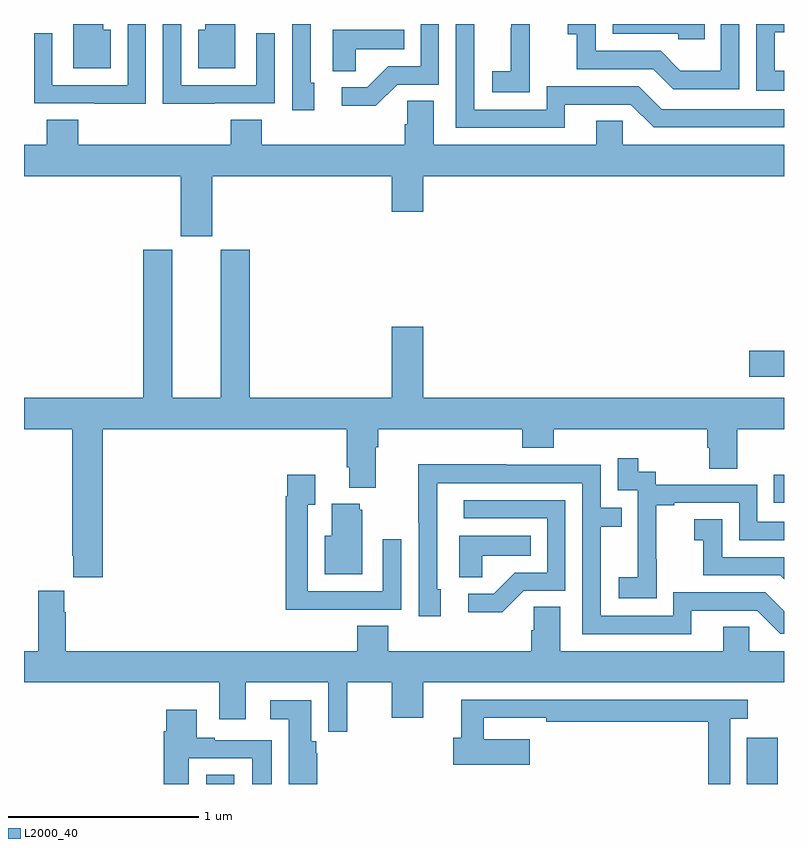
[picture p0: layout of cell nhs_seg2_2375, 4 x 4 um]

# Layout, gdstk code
import gdstk
lib = gdstk.Library(unit=1e-6, precision=1e-09)
def R(c, l, rs):  # rectangles x0, y0, x1, y1
    for r in rs: c.add(gdstk.rectangle(r[:2], r[2:], *l))
def P(c, l, *ps):  # polygons
    for p in ps: c.add(gdstk.Polygon(p, *l))
L2000_40 = (2000, 40)

nhs_seg2_2375 = lib.new_cell('nhs_seg2_2375')
R(nhs_seg2_2375, L2000_40, [(235.958,613.8,236.107,613.85), (238.805,613.8,238.966,614.044), (238.945,615.279,239,615.427), (238.818,615.944,239,616.079)])
P(nhs_seg2_2375, L2000_40, [(236.964,617.481),(237.183,617.481),(237.183,617.8),(237.087,617.8),(237.087,617.577),(236.918,617.577),(236.807,617.466),(236.673,617.466),(236.673,617.369),(236.851,617.369)],
  [(238.764,617.8),(238.668,617.8),(238.668,617.554),(238.454,617.554),(238.35,617.658),(238.008,617.658),(238.008,617.8),(237.861,617.8),(237.861,617.747),(237.91,617.747),(237.91,617.562),(238.313,617.562),(238.418,617.457),(238.764,617.457)],
  [(236.003,617.382),(236.319,617.382),(236.319,617.752),(236.223,617.752),(236.223,617.478),(235.827,617.478),(235.827,617.8),(235.731,617.8),(235.731,617.381),(236.003,617.381)],
  [(236.113,617.8),(235.955,617.8),(235.955,617.77),(235.916,617.77),(235.916,617.567),(236.113,617.567)],
  [(235.456,617.77),(235.417,617.77),(235.417,617.8),(235.259,617.8),(235.259,617.567),(235.456,617.567)],
  [(237.663,617.647),(237.662,617.647),(237.662,617.8),(237.564,617.8),(237.564,617.78),(237.563,617.78),(237.563,617.551),(237.465,617.551),(237.465,617.441),(237.663,617.441)],
  [(238.583,617.8),(238.098,617.8),(238.098,617.748),(238.443,617.748),(238.443,617.721),(238.583,617.721)],
  [(235.641,617.8),(235.545,617.8),(235.545,617.478),(235.149,617.478),(235.149,617.752),(235.053,617.752),(235.053,617.382),(235.369,617.382),(235.369,617.381),(235.641,617.381)],
  [(239,617.553),(238.951,617.553),(238.951,617.757),(239,617.757),(239,617.8),(238.854,617.8),(238.854,617.448),(239,617.448)],
  [(236.527,617.49),(236.508,617.49),(236.508,617.8),(236.412,617.8),(236.412,617.346),(236.527,617.346)],
  [(237.847,617.376),(238.194,617.376),(238.314,617.256),(239,617.256),(239,617.352),(238.356,617.352),(238.236,617.472),(237.75,617.472),(237.75,617.349),(237.369,617.349),(237.369,617.8),(237.273,617.8),(237.273,617.253),(237.847,617.253)],
  [(236.745,617.666),(237.002,617.666),(237.002,617.77),(236.624,617.77),(236.624,617.551),(236.745,617.551)],
  [(235.99,617),(236.936,617),(236.936,616.812),(237.1,616.812),(237.1,617),(239,617),(239,617.164),(238.152,617.164),(238.152,617.291),(238.013,617.291),(238.013,617.164),(237.157,617.164),(237.157,617.396),(237.018,617.396),(237.018,617.273),(237.005,617.273),(237.005,617.164),(236.252,617.164),(236.252,617.297),(236.087,617.297),(236.087,617.164),(235.286,617.164),(235.286,617.297),(235.121,617.297),(235.121,617.164),(235,617.164),(235,617),(235.826,617),(235.826,616.683),(235.99,616.683)],
  [(235.415,615.668),(236.699,615.668),(236.699,615.466),(236.711,615.466),(236.711,615.359),(236.851,615.359),(236.851,615.572),(236.864,615.572),(236.864,615.668),(237.623,615.668),(237.623,615.569),(237.788,615.569),(237.788,615.668),(238.595,615.668),(238.595,615.57),(238.607,615.57),(238.607,615.46),(238.755,615.46),(238.755,615.668),(239,615.668),(239,615.832),(237.1,615.832),(237.1,616.207),(236.936,616.207),(236.936,615.832),(236.189,615.832),(236.189,616.611),(236.036,616.611),(236.036,615.832),(235.78,615.832),(235.78,616.611),(235.628,616.611),(235.628,615.832),(235,615.832),(235,615.668),(235.255,615.668),(235.255,615.001),(235.259,615.001),(235.259,614.889),(235.415,614.889)],
  [(238.329,614.983),(238.328,614.983),(238.328,615.267),(238.423,615.267),(238.423,615.279),(238.764,615.279),(238.764,615.084),(239,615.084),(239,615.18),(238.86,615.18),(238.86,615.375),(238.326,615.375),(238.326,615.444),(238.234,615.444),(238.234,615.514),(238.125,615.514),(238.125,615.345),(238.23,615.345),(238.23,615.116),(238.229,615.116),(238.229,614.887),(238.131,614.887),(238.131,614.777),(238.329,614.777)],
  [(238.513,614.712),(238.86,614.712),(238.98,614.592),(239,614.592),(239,614.71),(238.902,614.808),(238.416,614.808),(238.416,614.685),(238.035,614.685),(238.035,615.154),(238.145,615.154),(238.145,615.255),(238.035,615.255),(238.035,615.48),(237.539,615.48),(237.539,615.482),(237.076,615.482),(237.076,615.175),(237.078,615.175),(237.078,614.682),(237.193,614.682),(237.193,614.826),(237.174,614.826),(237.174,615.384),(237.939,615.384),(237.939,614.589),(238.513,614.589)],
  [(236.669,614.718),(236.985,614.718),(236.985,615.088),(236.889,615.088),(236.889,614.814),(236.493,614.814),(236.493,615.271),(236.533,615.271),(236.533,615.427),(236.385,615.427),(236.385,615.314),(236.377,615.314),(236.377,614.717),(236.669,614.717)],
  [(237.63,614.817),(237.849,614.817),(237.849,615.294),(237.315,615.294),(237.315,615.198),(237.753,615.198),(237.753,614.913),(237.584,614.913),(237.473,614.802),(237.339,614.802),(237.339,614.705),(237.517,614.705)],
  [(236.779,615.243),(236.768,615.243),(236.768,615.274),(236.621,615.274),(236.621,615.106),(236.582,615.106),(236.582,614.903),(236.779,614.903)],
  [(239,614.994),(238.674,614.994),(238.674,615.193),(238.527,615.193),(238.527,615.083),(238.576,615.083),(238.576,614.898),(238.979,614.898),(239,614.877)],
  [(237.411,615.002),(237.668,615.002),(237.668,615.106),(237.29,615.106),(237.29,614.887),(237.411,614.887)],
  [(235.213,614.705),(235.213,614.818),(235.076,614.818),(235.076,614.5),(235,614.5),(235,614.336),(236.027,614.336),(236.027,614.142),(236.167,614.142),(236.167,614.336),(236.601,614.336),(236.601,614.076),(236.7,614.076),(236.7,614.336),(236.936,614.336),(236.936,614.148),(237.1,614.148),(237.1,614.336),(239,614.336),(239,614.5),(238.818,614.5),(238.818,614.627),(238.679,614.627),(238.679,614.5),(237.823,614.5),(237.823,614.732),(237.684,614.732),(237.684,614.609),(237.671,614.609),(237.671,614.5),(236.918,614.5),(236.918,614.633),(236.753,614.633),(236.753,614.5),(235.22,614.5),(235.22,614.705)],
  [(238.716,614.144),(238.81,614.144),(238.81,614.244),(237.302,614.244),(237.302,614.043),(237.26,614.043),(237.26,613.901),(237.661,613.901),(237.661,614.035),(237.419,614.035),(237.419,614.148),(237.748,614.148),(237.748,614.128),(238.6,614.128),(238.6,613.8),(238.716,613.8)],
  [(236.543,613.962),(236.537,613.962),(236.537,614.025),(236.512,614.025),(236.512,614.242),(236.295,614.242),(236.295,614.141),(236.393,614.141),(236.393,613.8),(236.543,613.8)],
  [(235.867,613.935),(236.201,613.935),(236.201,613.8),(236.305,613.8),(236.305,614.031),(236.005,614.031),(236.005,614.044),(235.909,614.044),(235.909,614.191),(235.748,614.191),(235.748,614.078),(235.736,614.078),(235.736,613.8),(235.867,613.8)])

lib.write_gds('nhs_seg2_2375.gds')
